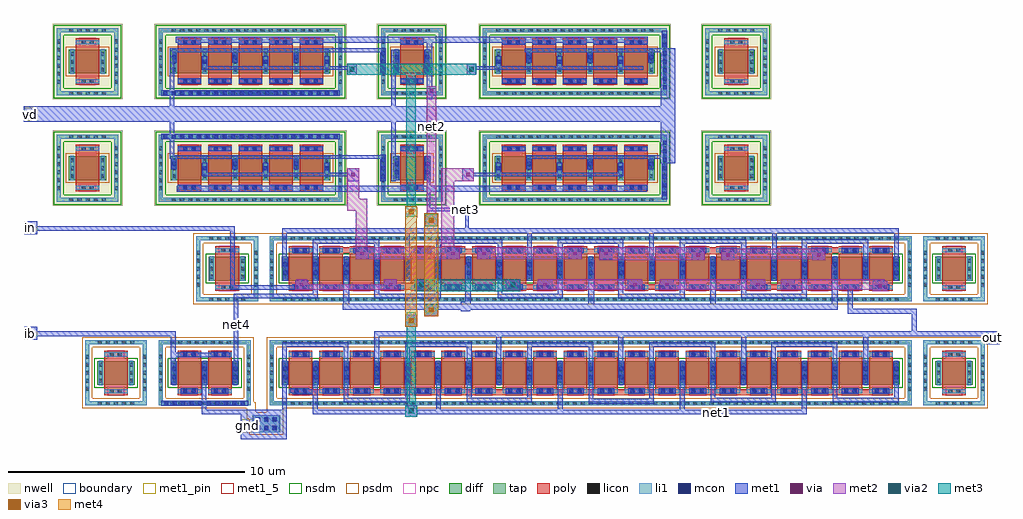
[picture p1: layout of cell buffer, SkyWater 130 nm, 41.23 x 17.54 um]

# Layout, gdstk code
from math import pi, radians
import gdstk
lib = gdstk.Library(unit=1e-6, precision=1e-09)
def R(c, l, rs):  # rectangles x0, y0, x1, y1
    for r in rs: c.add(gdstk.rectangle(r[:2], r[2:], *l))
def A(c, l, x, y, w, h, nx, ny, dx, dy):  # array of equal rectangles
    R(c, l, [(x+i*dx, y+j*dy, x+i*dx+w, y+j*dy+h) for i in range(nx) for j in range(ny)])
nwell = (64, 20)
diff = (65, 20)
tap = (65, 44)
poly = (66, 20)
licon = (66, 44)
li1 = (67, 20)
mcon = (67, 44)
met1_5 = (68, 5)
met1_pin = (68, 16)
met1 = (68, 20)
via = (68, 44)
met2 = (69, 20)
via2 = (69, 44)
met3 = (70, 20)
via3 = (70, 44)
met4 = (71, 20)
nsdm = (93, 44)
psdm = (94, 20)
npc = (95, 20)
boundary = (235, 4)

sky130_fd_pr__pfet_01v8_ = lib.new_cell('sky130_fd_pr__pfet_01v8_BLSBYX')
R(sky130_fd_pr__pfet_01v8_, nwell, [(-1.48,-1.595,1.48,1.595)])
R(sky130_fd_pr__pfet_01v8_, diff, [(-0.79,-0.5,0.79,0.5)])
R(sky130_fd_pr__pfet_01v8_, tap, [(-1.3,-1.415,1.3,-1.245), (-1.3,-1.245,-1.13,1.245), (1.13,-1.245,1.3,1.245), (-1.3,1.245,1.3,1.415)])
R(sky130_fd_pr__pfet_01v8_, poly, [(-0.5,-0.985,0.5,0.985)])
A(sky130_fd_pr__pfet_01v8_, licon, -0.765, -1.415, 0.17, 0.17, 5, 2, 0.34, 2.66)
A(sky130_fd_pr__pfet_01v8_, licon, -1.3, -0.935, 0.17, 0.17, 1, 6, 0, 0.34)
A(sky130_fd_pr__pfet_01v8_, licon, 1.13, -0.935, 0.17, 0.17, 1, 6, 0, 0.34)
A(sky130_fd_pr__pfet_01v8_, licon, -0.73, -0.425, 0.17, 0.17, 1, 3, 0, 0.34)
A(sky130_fd_pr__pfet_01v8_, licon, 0.56, -0.425, 0.17, 0.17, 1, 3, 0, 0.34)
R(sky130_fd_pr__pfet_01v8_, licon, [(-0.255,-0.905,-0.085,-0.735), (0.085,-0.905,0.255,-0.735), (-0.255,0.735,-0.085,0.905), (0.085,0.735,0.255,0.905)])
R(sky130_fd_pr__pfet_01v8_, li1, [(-1.3,-1.415,1.3,-1.245), (-1.3,-1.245,-1.13,1.245), (1.13,-1.245,1.3,1.245), (-0.5,-0.905,0.5,-0.735), (-0.73,-0.52,-0.56,0.52), (0.56,-0.52,0.73,0.52), (-0.5,0.735,0.5,0.905), (-1.3,1.245,1.3,1.415)])
A(sky130_fd_pr__pfet_01v8_, mcon, -1.3, -0.445, 0.17, 0.17, 1, 3, 0, 0.36)
R(sky130_fd_pr__pfet_01v8_, mcon, [(-0.265,-0.905,-0.095,-0.735), (0.095,-0.905,0.265,-0.735), (-0.73,-0.265,-0.56,-0.095), (0.56,-0.265,0.73,-0.095), (-0.73,0.095,-0.56,0.265), (0.56,0.095,0.73,0.265), (-0.265,0.735,-0.095,0.905), (0.095,0.735,0.265,0.905)])
R(sky130_fd_pr__pfet_01v8_, met1, [(-0.48,-0.935,0.48,-0.705), (-1.33,-0.56,-1.1,0.56), (-0.76,-0.5,-0.53,0.5), (0.53,-0.5,0.76,0.5), (-0.48,0.705,0.48,0.935)])
R(sky130_fd_pr__pfet_01v8_, nsdm, [(-1.425,-1.54,1.425,-1.12), (-1.425,-1.12,-1.005,1.12), (1.005,-1.12,1.425,1.12), (-1.425,1.12,1.425,1.54)])
R(sky130_fd_pr__pfet_01v8_, psdm, [(-0.915,-0.625,0.915,0.625)])
R(sky130_fd_pr__pfet_01v8_, npc, [(-0.355,-1.005,0.355,-0.635), (-0.355,0.635,0.355,1.005)])
R(sky130_fd_pr__pfet_01v8_, boundary, [(-1.215,-1.33,1.215,1.33)])

c_sky130_fd_pr__pfet_01v8_ = lib.new_cell('sky130_fd_pr__pfet_01v8_8LYGA7')
R(c_sky130_fd_pr__pfet_01v8_, nwell, [(-4.06,-1.595,4.06,1.595)])
R(c_sky130_fd_pr__pfet_01v8_, diff, [(-3.37,-0.5,3.37,0.5)])
R(c_sky130_fd_pr__pfet_01v8_, tap, [(-3.88,-1.415,3.88,-1.245), (-3.88,-1.245,-3.71,1.245), (3.71,-1.245,3.88,1.245), (-3.88,1.245,3.88,1.415)])
A(c_sky130_fd_pr__pfet_01v8_, poly, -3.08, -0.985, 1, 1.97, 5, 1, 1.29, 0)
A(c_sky130_fd_pr__pfet_01v8_, licon, -3.315, -1.415, 0.17, 0.17, 20, 2, 0.34, 2.66)
A(c_sky130_fd_pr__pfet_01v8_, licon, -3.88, -0.935, 0.17, 0.17, 1, 6, 0, 0.34)
A(c_sky130_fd_pr__pfet_01v8_, licon, 3.71, -0.935, 0.17, 0.17, 1, 6, 0, 0.34)
A(c_sky130_fd_pr__pfet_01v8_, licon, -3.31, -0.425, 0.17, 0.17, 6, 3, 1.29, 0.34)
R(c_sky130_fd_pr__pfet_01v8_, licon, [(-2.835,-0.905,-2.665,-0.735), (-2.495,-0.905,-2.325,-0.735), (-1.545,-0.905,-1.375,-0.735), (-1.205,-0.905,-1.035,-0.735), (-0.255,-0.905,-0.085,-0.735), (0.085,-0.905,0.255,-0.735), (1.035,-0.905,1.205,-0.735), (1.375,-0.905,1.545,-0.735), (2.325,-0.905,2.495,-0.735), (2.665,-0.905,2.835,-0.735), (-2.835,0.735,-2.665,0.905), (-2.495,0.735,-2.325,0.905), (-1.545,0.735,-1.375,0.905), (-1.205,0.735,-1.035,0.905), (-0.255,0.735,-0.085,0.905), (0.085,0.735,0.255,0.905), (1.035,0.735,1.205,0.905), (1.375,0.735,1.545,0.905), (2.325,0.735,2.495,0.905), (2.665,0.735,2.835,0.905)])
A(c_sky130_fd_pr__pfet_01v8_, li1, -3.08, -0.905, 1, 0.17, 5, 2, 1.29, 1.64)
A(c_sky130_fd_pr__pfet_01v8_, li1, -3.31, -0.52, 0.17, 1.04, 6, 1, 1.29, 0)
R(c_sky130_fd_pr__pfet_01v8_, li1, [(-3.88,-1.415,3.88,-1.245), (-3.88,-1.245,-3.71,1.245), (3.71,-1.245,3.88,1.245), (-3.88,1.245,3.88,1.415)])
A(c_sky130_fd_pr__pfet_01v8_, mcon, -3.88, -1.165, 0.17, 0.17, 1, 7, 0, 0.36)
A(c_sky130_fd_pr__pfet_01v8_, mcon, -2.02, -0.085, 0.17, 0.17, 3, 1, 2.58, 0)
A(c_sky130_fd_pr__pfet_01v8_, mcon, -3.31, 0.095, 0.17, 0.17, 3, 1, 2.58, 0)
R(c_sky130_fd_pr__pfet_01v8_, mcon, [(-2.845,-0.905,-2.675,-0.735), (-2.485,-0.905,-2.315,-0.735), (-1.555,-0.905,-1.385,-0.735), (-1.195,-0.905,-1.025,-0.735), (-0.265,-0.905,-0.095,-0.735), (0.095,-0.905,0.265,-0.735), (1.025,-0.905,1.195,-0.735), (1.385,-0.905,1.555,-0.735), (2.315,-0.905,2.485,-0.735), (2.675,-0.905,2.845,-0.735), (-2.845,0.735,-2.675,0.905), (-2.485,0.735,-2.315,0.905), (-1.555,0.735,-1.385,0.905), (-1.195,0.735,-1.025,0.905), (-0.265,0.735,-0.095,0.905), (0.095,0.735,0.265,0.905), (1.025,0.735,1.195,0.905), (1.385,0.735,1.555,0.905), (2.315,0.735,2.485,0.905), (2.675,0.735,2.845,0.905)])
A(c_sky130_fd_pr__pfet_01v8_, met1, -3.06, -0.935, 0.96, 0.23, 5, 2, 1.29, 1.64)
A(c_sky130_fd_pr__pfet_01v8_, met1, -2.05, -0.235, 0.23, 0.47, 3, 1, 2.58, 0)
A(c_sky130_fd_pr__pfet_01v8_, met1, -3.34, -0.055, 0.23, 0.47, 3, 1, 2.58, 0)
R(c_sky130_fd_pr__pfet_01v8_, met1, [(-3.91,-1.305,-3.68,1.305)])
R(c_sky130_fd_pr__pfet_01v8_, nsdm, [(-4.005,-1.54,4.005,-1.12), (-4.005,-1.12,-3.585,1.12), (3.585,-1.12,4.005,1.12), (-4.005,1.12,4.005,1.54)])
R(c_sky130_fd_pr__pfet_01v8_, psdm, [(-3.495,-0.625,3.495,0.625)])
A(c_sky130_fd_pr__pfet_01v8_, npc, -2.935, -1.005, 0.71, 0.37, 5, 2, 1.29, 1.64)
R(c_sky130_fd_pr__pfet_01v8_, boundary, [(-3.795,-1.33,3.795,1.33)])

c_sky130_fd_pr__pfet_01v8__ = lib.new_cell('sky130_fd_pr__pfet_01v8_8L4H97')
R(c_sky130_fd_pr__pfet_01v8__, nwell, [(-4.06,-1.595,4.06,1.595)])
R(c_sky130_fd_pr__pfet_01v8__, diff, [(-3.37,-0.5,3.37,0.5)])
R(c_sky130_fd_pr__pfet_01v8__, tap, [(-3.88,-1.415,3.88,-1.245), (-3.88,-1.245,-3.71,1.245), (3.71,-1.245,3.88,1.245), (-3.88,1.245,3.88,1.415)])
A(c_sky130_fd_pr__pfet_01v8__, poly, -3.08, -0.985, 1, 1.97, 5, 1, 1.29, 0)
A(c_sky130_fd_pr__pfet_01v8__, licon, -3.315, -1.415, 0.17, 0.17, 20, 2, 0.34, 2.66)
A(c_sky130_fd_pr__pfet_01v8__, licon, -3.88, -0.935, 0.17, 0.17, 1, 6, 0, 0.34)
A(c_sky130_fd_pr__pfet_01v8__, licon, 3.71, -0.935, 0.17, 0.17, 1, 6, 0, 0.34)
A(c_sky130_fd_pr__pfet_01v8__, licon, -3.31, -0.425, 0.17, 0.17, 6, 3, 1.29, 0.34)
R(c_sky130_fd_pr__pfet_01v8__, licon, [(-2.835,-0.905,-2.665,-0.735), (-2.495,-0.905,-2.325,-0.735), (-1.545,-0.905,-1.375,-0.735), (-1.205,-0.905,-1.035,-0.735), (-0.255,-0.905,-0.085,-0.735), (0.085,-0.905,0.255,-0.735), (1.035,-0.905,1.205,-0.735), (1.375,-0.905,1.545,-0.735), (2.325,-0.905,2.495,-0.735), (2.665,-0.905,2.835,-0.735), (-2.835,0.735,-2.665,0.905), (-2.495,0.735,-2.325,0.905), (-1.545,0.735,-1.375,0.905), (-1.205,0.735,-1.035,0.905), (-0.255,0.735,-0.085,0.905), (0.085,0.735,0.255,0.905), (1.035,0.735,1.205,0.905), (1.375,0.735,1.545,0.905), (2.325,0.735,2.495,0.905), (2.665,0.735,2.835,0.905)])
A(c_sky130_fd_pr__pfet_01v8__, li1, -3.08, -0.905, 1, 0.17, 5, 2, 1.29, 1.64)
A(c_sky130_fd_pr__pfet_01v8__, li1, -3.31, -0.52, 0.17, 1.04, 6, 1, 1.29, 0)
R(c_sky130_fd_pr__pfet_01v8__, li1, [(-3.88,-1.415,3.88,-1.245), (-3.88,-1.245,-3.71,1.245), (3.71,-1.245,3.88,1.245), (-3.88,1.245,3.88,1.415)])
A(c_sky130_fd_pr__pfet_01v8__, mcon, -3.685, -1.415, 0.17, 0.17, 21, 1, 0.36, 0)
A(c_sky130_fd_pr__pfet_01v8__, mcon, -2.02, -0.085, 0.17, 0.17, 3, 1, 2.58, 0)
A(c_sky130_fd_pr__pfet_01v8__, mcon, -3.31, 0.095, 0.17, 0.17, 3, 1, 2.58, 0)
R(c_sky130_fd_pr__pfet_01v8__, mcon, [(-2.845,-0.905,-2.675,-0.735), (-2.485,-0.905,-2.315,-0.735), (-1.555,-0.905,-1.385,-0.735), (-1.195,-0.905,-1.025,-0.735), (-0.265,-0.905,-0.095,-0.735), (0.095,-0.905,0.265,-0.735), (1.025,-0.905,1.195,-0.735), (1.385,-0.905,1.555,-0.735), (2.315,-0.905,2.485,-0.735), (2.675,-0.905,2.845,-0.735), (-2.845,0.735,-2.675,0.905), (-2.485,0.735,-2.315,0.905), (-1.555,0.735,-1.385,0.905), (-1.195,0.735,-1.025,0.905), (-0.265,0.735,-0.095,0.905), (0.095,0.735,0.265,0.905), (1.025,0.735,1.195,0.905), (1.385,0.735,1.555,0.905), (2.315,0.735,2.485,0.905), (2.675,0.735,2.845,0.905)])
A(c_sky130_fd_pr__pfet_01v8__, met1, -3.06, -0.935, 0.96, 0.23, 5, 2, 1.29, 1.64)
A(c_sky130_fd_pr__pfet_01v8__, met1, -2.05, -0.235, 0.23, 0.47, 3, 1, 2.58, 0)
A(c_sky130_fd_pr__pfet_01v8__, met1, -3.34, -0.055, 0.23, 0.47, 3, 1, 2.58, 0)
R(c_sky130_fd_pr__pfet_01v8__, met1, [(-3.77,-1.445,3.77,-1.215)])
R(c_sky130_fd_pr__pfet_01v8__, nsdm, [(-4.005,-1.54,4.005,-1.12), (-4.005,-1.12,-3.585,1.12), (3.585,-1.12,4.005,1.12), (-4.005,1.12,4.005,1.54)])
R(c_sky130_fd_pr__pfet_01v8__, psdm, [(-3.495,-0.625,3.495,0.625)])
A(c_sky130_fd_pr__pfet_01v8__, npc, -2.935, -1.005, 0.71, 0.37, 5, 2, 1.29, 1.64)
R(c_sky130_fd_pr__pfet_01v8__, boundary, [(-3.795,-1.33,3.795,1.33)])

c_sky130_fd_pr__pfet_01v8___ = lib.new_cell('sky130_fd_pr__pfet_01v8_8C4HA7')
R(c_sky130_fd_pr__pfet_01v8___, nwell, [(-4.06,-1.595,4.06,1.595)])
R(c_sky130_fd_pr__pfet_01v8___, diff, [(-3.37,-0.5,3.37,0.5)])
R(c_sky130_fd_pr__pfet_01v8___, tap, [(-3.88,-1.415,3.88,-1.245), (-3.88,-1.245,-3.71,1.245), (3.71,-1.245,3.88,1.245), (-3.88,1.245,3.88,1.415)])
A(c_sky130_fd_pr__pfet_01v8___, poly, -3.08, -0.985, 1, 1.97, 5, 1, 1.29, 0)
A(c_sky130_fd_pr__pfet_01v8___, licon, -3.315, -1.415, 0.17, 0.17, 20, 2, 0.34, 2.66)
A(c_sky130_fd_pr__pfet_01v8___, licon, -3.88, -0.935, 0.17, 0.17, 1, 6, 0, 0.34)
A(c_sky130_fd_pr__pfet_01v8___, licon, 3.71, -0.935, 0.17, 0.17, 1, 6, 0, 0.34)
A(c_sky130_fd_pr__pfet_01v8___, licon, -3.31, -0.425, 0.17, 0.17, 6, 3, 1.29, 0.34)
R(c_sky130_fd_pr__pfet_01v8___, licon, [(-2.835,-0.905,-2.665,-0.735), (-2.495,-0.905,-2.325,-0.735), (-1.545,-0.905,-1.375,-0.735), (-1.205,-0.905,-1.035,-0.735), (-0.255,-0.905,-0.085,-0.735), (0.085,-0.905,0.255,-0.735), (1.035,-0.905,1.205,-0.735), (1.375,-0.905,1.545,-0.735), (2.325,-0.905,2.495,-0.735), (2.665,-0.905,2.835,-0.735), (-2.835,0.735,-2.665,0.905), (-2.495,0.735,-2.325,0.905), (-1.545,0.735,-1.375,0.905), (-1.205,0.735,-1.035,0.905), (-0.255,0.735,-0.085,0.905), (0.085,0.735,0.255,0.905), (1.035,0.735,1.205,0.905), (1.375,0.735,1.545,0.905), (2.325,0.735,2.495,0.905), (2.665,0.735,2.835,0.905)])
A(c_sky130_fd_pr__pfet_01v8___, li1, -3.08, -0.905, 1, 0.17, 5, 2, 1.29, 1.64)
A(c_sky130_fd_pr__pfet_01v8___, li1, -3.31, -0.52, 0.17, 1.04, 6, 1, 1.29, 0)
R(c_sky130_fd_pr__pfet_01v8___, li1, [(-3.88,-1.415,3.88,-1.245), (-3.88,-1.245,-3.71,1.245), (3.71,-1.245,3.88,1.245), (-3.88,1.245,3.88,1.415)])
A(c_sky130_fd_pr__pfet_01v8___, mcon, -2.02, -0.085, 0.17, 0.17, 3, 1, 2.58, 0)
A(c_sky130_fd_pr__pfet_01v8___, mcon, -3.31, 0.095, 0.17, 0.17, 3, 1, 2.58, 0)
A(c_sky130_fd_pr__pfet_01v8___, mcon, -3.685, 1.245, 0.17, 0.17, 21, 1, 0.36, 0)
R(c_sky130_fd_pr__pfet_01v8___, mcon, [(-2.845,-0.905,-2.675,-0.735), (-2.485,-0.905,-2.315,-0.735), (-1.555,-0.905,-1.385,-0.735), (-1.195,-0.905,-1.025,-0.735), (-0.265,-0.905,-0.095,-0.735), (0.095,-0.905,0.265,-0.735), (1.025,-0.905,1.195,-0.735), (1.385,-0.905,1.555,-0.735), (2.315,-0.905,2.485,-0.735), (2.675,-0.905,2.845,-0.735), (-2.845,0.735,-2.675,0.905), (-2.485,0.735,-2.315,0.905), (-1.555,0.735,-1.385,0.905), (-1.195,0.735,-1.025,0.905), (-0.265,0.735,-0.095,0.905), (0.095,0.735,0.265,0.905), (1.025,0.735,1.195,0.905), (1.385,0.735,1.555,0.905), (2.315,0.735,2.485,0.905), (2.675,0.735,2.845,0.905)])
A(c_sky130_fd_pr__pfet_01v8___, met1, -3.06, -0.935, 0.96, 0.23, 5, 2, 1.29, 1.64)
A(c_sky130_fd_pr__pfet_01v8___, met1, -2.05, -0.235, 0.23, 0.47, 3, 1, 2.58, 0)
A(c_sky130_fd_pr__pfet_01v8___, met1, -3.34, -0.055, 0.23, 0.47, 3, 1, 2.58, 0)
R(c_sky130_fd_pr__pfet_01v8___, met1, [(-3.77,1.215,3.77,1.445)])
R(c_sky130_fd_pr__pfet_01v8___, nsdm, [(-4.005,-1.54,4.005,-1.12), (-4.005,-1.12,-3.585,1.12), (3.585,-1.12,4.005,1.12), (-4.005,1.12,4.005,1.54)])
R(c_sky130_fd_pr__pfet_01v8___, psdm, [(-3.495,-0.625,3.495,0.625)])
A(c_sky130_fd_pr__pfet_01v8___, npc, -2.935, -1.005, 0.71, 0.37, 5, 2, 1.29, 1.64)
R(c_sky130_fd_pr__pfet_01v8___, boundary, [(-3.795,-1.33,3.795,1.33)])

sky130_fd_pr__nfet_01v8_ = lib.new_cell('sky130_fd_pr__nfet_01v8_GVTB53')
R(sky130_fd_pr__nfet_01v8_, diff, [(-1.435,-0.5,1.435,0.5)])
R(sky130_fd_pr__nfet_01v8_, tap, [(-1.945,-1.37,1.945,-1.2), (-1.945,-1.2,-1.775,1.2), (1.775,-1.2,1.945,1.2), (-1.945,1.2,1.945,1.37)])
R(sky130_fd_pr__nfet_01v8_, poly, [(-1.145,-0.94,-0.145,0.94), (0.145,-0.94,1.145,0.94)])
A(sky130_fd_pr__nfet_01v8_, licon, -1.445, -1.37, 0.17, 0.17, 9, 2, 0.34, 2.57)
A(sky130_fd_pr__nfet_01v8_, licon, -1.945, -0.765, 0.17, 0.17, 1, 5, 0, 0.34)
A(sky130_fd_pr__nfet_01v8_, licon, 1.775, -0.765, 0.17, 0.17, 1, 5, 0, 0.34)
A(sky130_fd_pr__nfet_01v8_, licon, -1.375, -0.425, 0.17, 0.17, 3, 3, 1.29, 0.34)
R(sky130_fd_pr__nfet_01v8_, licon, [(-0.9,-0.86,-0.73,-0.69), (-0.56,-0.86,-0.39,-0.69), (0.39,-0.86,0.56,-0.69), (0.73,-0.86,0.9,-0.69), (-0.9,0.69,-0.73,0.86), (-0.56,0.69,-0.39,0.86), (0.39,0.69,0.56,0.86), (0.73,0.69,0.9,0.86)])
A(sky130_fd_pr__nfet_01v8_, li1, -1.375, -0.52, 0.17, 1.04, 3, 1, 1.29, 0)
R(sky130_fd_pr__nfet_01v8_, li1, [(-1.945,-1.37,1.945,-1.2), (-1.945,-1.2,-1.775,1.2), (1.775,-1.2,1.945,1.2), (-1.145,-0.86,-0.145,-0.69), (0.145,-0.86,1.145,-0.69), (-1.145,0.69,-0.145,0.86), (0.145,0.69,1.145,0.86), (-1.945,1.2,1.945,1.37)])
A(sky130_fd_pr__nfet_01v8_, mcon, -1.705, -1.37, 0.17, 0.17, 10, 1, 0.36, 0)
A(sky130_fd_pr__nfet_01v8_, mcon, -1.375, -0.265, 0.17, 0.17, 3, 2, 1.29, 0.36)
R(sky130_fd_pr__nfet_01v8_, mcon, [(-0.91,-0.86,-0.74,-0.69), (-0.55,-0.86,-0.38,-0.69), (0.38,-0.86,0.55,-0.69), (0.74,-0.86,0.91,-0.69), (-0.91,0.69,-0.74,0.86), (-0.55,0.69,-0.38,0.86), (0.38,0.69,0.55,0.86), (0.74,0.69,0.91,0.86)])
A(sky130_fd_pr__nfet_01v8_, met1, -1.405, -0.5, 0.23, 1, 3, 1, 1.29, 0)
R(sky130_fd_pr__nfet_01v8_, met1, [(-1.835,-1.4,1.835,-1.17), (-1,-0.89,-0.29,-0.66), (0.29,-0.89,1,-0.66), (-1,0.66,-0.29,0.89), (0.29,0.66,1,0.89)])
R(sky130_fd_pr__nfet_01v8_, nsdm, [(-1.56,-0.625,1.56,0.625)])
R(sky130_fd_pr__nfet_01v8_, psdm, [(-2.07,-1.495,2.07,-1.075), (-2.07,-1.075,-1.65,1.075), (1.65,-1.075,2.07,1.075), (-2.07,1.075,2.07,1.495)])
R(sky130_fd_pr__nfet_01v8_, npc, [(-1,-0.96,-0.29,-0.59), (0.29,-0.96,1,-0.59), (-1,0.59,-0.29,0.96), (0.29,0.59,1,0.96)])
R(sky130_fd_pr__nfet_01v8_, boundary, [(-1.86,-1.285,1.86,1.285)])

c_sky130_fd_pr__nfet_01v8_ = lib.new_cell('sky130_fd_pr__nfet_01v8_CL66SD')
R(c_sky130_fd_pr__nfet_01v8_, diff, [(-13.045,-0.5,13.045,0.5)])
R(c_sky130_fd_pr__nfet_01v8_, tap, [(-13.555,-1.37,13.555,-1.2), (-13.555,-1.2,-13.385,1.2), (13.385,-1.2,13.555,1.2), (-13.555,1.2,13.555,1.37)])
A(c_sky130_fd_pr__nfet_01v8_, poly, -12.755, -0.94, 1, 1.88, 20, 1, 1.29, 0)
A(c_sky130_fd_pr__nfet_01v8_, licon, -13.005, -1.37, 0.17, 0.17, 77, 2, 0.34, 2.57)
A(c_sky130_fd_pr__nfet_01v8_, licon, -13.555, -0.765, 0.17, 0.17, 1, 5, 0, 0.34)
A(c_sky130_fd_pr__nfet_01v8_, licon, 13.385, -0.765, 0.17, 0.17, 1, 5, 0, 0.34)
A(c_sky130_fd_pr__nfet_01v8_, licon, -12.985, -0.425, 0.17, 0.17, 21, 3, 1.29, 0.34)
R(c_sky130_fd_pr__nfet_01v8_, licon, [(-12.51,-0.86,-12.34,-0.69), (-12.17,-0.86,-12,-0.69), (-11.22,-0.86,-11.05,-0.69), (-10.88,-0.86,-10.71,-0.69), (-9.93,-0.86,-9.76,-0.69), (-9.59,-0.86,-9.42,-0.69), (-8.64,-0.86,-8.47,-0.69), (-8.3,-0.86,-8.13,-0.69), (-7.35,-0.86,-7.18,-0.69), (-7.01,-0.86,-6.84,-0.69), (-6.06,-0.86,-5.89,-0.69), (-5.72,-0.86,-5.55,-0.69), (-4.77,-0.86,-4.6,-0.69), (-4.43,-0.86,-4.26,-0.69), (-3.48,-0.86,-3.31,-0.69), (-3.14,-0.86,-2.97,-0.69), (-2.19,-0.86,-2.02,-0.69), (-1.85,-0.86,-1.68,-0.69), (-0.9,-0.86,-0.73,-0.69), (-0.56,-0.86,-0.39,-0.69), (0.39,-0.86,0.56,-0.69), (0.73,-0.86,0.9,-0.69), (1.68,-0.86,1.85,-0.69), (2.02,-0.86,2.19,-0.69), (2.97,-0.86,3.14,-0.69), (3.31,-0.86,3.48,-0.69), (4.26,-0.86,4.43,-0.69), (4.6,-0.86,4.77,-0.69), (5.55,-0.86,5.72,-0.69), (5.89,-0.86,6.06,-0.69), (6.84,-0.86,7.01,-0.69), (7.18,-0.86,7.35,-0.69), (8.13,-0.86,8.3,-0.69), (8.47,-0.86,8.64,-0.69), (9.42,-0.86,9.59,-0.69), (9.76,-0.86,9.93,-0.69), (10.71,-0.86,10.88,-0.69), (11.05,-0.86,11.22,-0.69), (12,-0.86,12.17,-0.69), (12.34,-0.86,12.51,-0.69), (-12.51,0.69,-12.34,0.86), (-12.17,0.69,-12,0.86), (-11.22,0.69,-11.05,0.86), (-10.88,0.69,-10.71,0.86), (-9.93,0.69,-9.76,0.86), (-9.59,0.69,-9.42,0.86), (-8.64,0.69,-8.47,0.86), (-8.3,0.69,-8.13,0.86), (-7.35,0.69,-7.18,0.86), (-7.01,0.69,-6.84,0.86), (-6.06,0.69,-5.89,0.86), (-5.72,0.69,-5.55,0.86), (-4.77,0.69,-4.6,0.86), (-4.43,0.69,-4.26,0.86), (-3.48,0.69,-3.31,0.86), (-3.14,0.69,-2.97,0.86), (-2.19,0.69,-2.02,0.86), (-1.85,0.69,-1.68,0.86), (-0.9,0.69,-0.73,0.86), (-0.56,0.69,-0.39,0.86), (0.39,0.69,0.56,0.86), (0.73,0.69,0.9,0.86), (1.68,0.69,1.85,0.86), (2.02,0.69,2.19,0.86), (2.97,0.69,3.14,0.86), (3.31,0.69,3.48,0.86), (4.26,0.69,4.43,0.86), (4.6,0.69,4.77,0.86), (5.55,0.69,5.72,0.86), (5.89,0.69,6.06,0.86), (6.84,0.69,7.01,0.86), (7.18,0.69,7.35,0.86), (8.13,0.69,8.3,0.86), (8.47,0.69,8.64,0.86), (9.42,0.69,9.59,0.86), (9.76,0.69,9.93,0.86), (10.71,0.69,10.88,0.86), (11.05,0.69,11.22,0.86), (12,0.69,12.17,0.86), (12.34,0.69,12.51,0.86)])
A(c_sky130_fd_pr__nfet_01v8_, li1, -12.755, -0.86, 1, 0.17, 20, 2, 1.29, 1.55)
A(c_sky130_fd_pr__nfet_01v8_, li1, -12.985, -0.52, 0.17, 1.04, 21, 1, 1.29, 0)
R(c_sky130_fd_pr__nfet_01v8_, li1, [(-13.555,-1.37,13.555,-1.2), (-13.555,-1.2,-13.385,1.2), (13.385,-1.2,13.555,1.2), (-13.555,1.2,13.555,1.37)])
A(c_sky130_fd_pr__nfet_01v8_, mcon, -12.985, -0.265, 0.17, 0.17, 21, 2, 1.29, 0.36)
R(c_sky130_fd_pr__nfet_01v8_, mcon, [(-12.52,-0.86,-12.35,-0.69), (-12.16,-0.86,-11.99,-0.69), (-11.23,-0.86,-11.06,-0.69), (-10.87,-0.86,-10.7,-0.69), (-9.94,-0.86,-9.77,-0.69), (-9.58,-0.86,-9.41,-0.69), (-8.65,-0.86,-8.48,-0.69), (-8.29,-0.86,-8.12,-0.69), (-7.36,-0.86,-7.19,-0.69), (-7,-0.86,-6.83,-0.69), (-6.07,-0.86,-5.9,-0.69), (-5.71,-0.86,-5.54,-0.69), (-4.78,-0.86,-4.61,-0.69), (-4.42,-0.86,-4.25,-0.69), (-3.49,-0.86,-3.32,-0.69), (-3.13,-0.86,-2.96,-0.69), (-2.2,-0.86,-2.03,-0.69), (-1.84,-0.86,-1.67,-0.69), (-0.91,-0.86,-0.74,-0.69), (-0.55,-0.86,-0.38,-0.69), (0.38,-0.86,0.55,-0.69), (0.74,-0.86,0.91,-0.69), (1.67,-0.86,1.84,-0.69), (2.03,-0.86,2.2,-0.69), (2.96,-0.86,3.13,-0.69), (3.32,-0.86,3.49,-0.69), (4.25,-0.86,4.42,-0.69), (4.61,-0.86,4.78,-0.69), (5.54,-0.86,5.71,-0.69), (5.9,-0.86,6.07,-0.69), (6.83,-0.86,7,-0.69), (7.19,-0.86,7.36,-0.69), (8.12,-0.86,8.29,-0.69), (8.48,-0.86,8.65,-0.69), (9.41,-0.86,9.58,-0.69), (9.77,-0.86,9.94,-0.69), (10.7,-0.86,10.87,-0.69), (11.06,-0.86,11.23,-0.69), (11.99,-0.86,12.16,-0.69), (12.35,-0.86,12.52,-0.69), (-12.52,0.69,-12.35,0.86), (-12.16,0.69,-11.99,0.86), (-11.23,0.69,-11.06,0.86), (-10.87,0.69,-10.7,0.86), (-9.94,0.69,-9.77,0.86), (-9.58,0.69,-9.41,0.86), (-8.65,0.69,-8.48,0.86), (-8.29,0.69,-8.12,0.86), (-7.36,0.69,-7.19,0.86), (-7,0.69,-6.83,0.86), (-6.07,0.69,-5.9,0.86), (-5.71,0.69,-5.54,0.86), (-4.78,0.69,-4.61,0.86), (-4.42,0.69,-4.25,0.86), (-3.49,0.69,-3.32,0.86), (-3.13,0.69,-2.96,0.86), (-2.2,0.69,-2.03,0.86), (-1.84,0.69,-1.67,0.86), (-0.91,0.69,-0.74,0.86), (-0.55,0.69,-0.38,0.86), (0.38,0.69,0.55,0.86), (0.74,0.69,0.91,0.86), (1.67,0.69,1.84,0.86), (2.03,0.69,2.2,0.86), (2.96,0.69,3.13,0.86), (3.32,0.69,3.49,0.86), (4.25,0.69,4.42,0.86), (4.61,0.69,4.78,0.86), (5.54,0.69,5.71,0.86), (5.9,0.69,6.07,0.86), (6.83,0.69,7,0.86), (7.19,0.69,7.36,0.86), (8.12,0.69,8.29,0.86), (8.48,0.69,8.65,0.86), (9.41,0.69,9.58,0.86), (9.77,0.69,9.94,0.86), (10.7,0.69,10.87,0.86), (11.06,0.69,11.23,0.86), (11.99,0.69,12.16,0.86), (12.35,0.69,12.52,0.86)])
A(c_sky130_fd_pr__nfet_01v8_, met1, -12.61, -0.89, 0.71, 0.23, 20, 2, 1.29, 1.55)
A(c_sky130_fd_pr__nfet_01v8_, met1, -13.015, -0.5, 0.23, 1, 21, 1, 1.29, 0)
R(c_sky130_fd_pr__nfet_01v8_, nsdm, [(-13.17,-0.625,13.17,0.625)])
R(c_sky130_fd_pr__nfet_01v8_, psdm, [(-13.68,-1.495,13.68,-1.075), (-13.68,-1.075,-13.26,1.075), (13.26,-1.075,13.68,1.075), (-13.68,1.075,13.68,1.495)])
A(c_sky130_fd_pr__nfet_01v8_, npc, -12.61, -0.96, 0.71, 0.37, 20, 2, 1.29, 1.55)
R(c_sky130_fd_pr__nfet_01v8_, boundary, [(-13.47,-1.285,13.47,1.285)])

buffer = lib.new_cell('buffer')
R(buffer, nwell, [(70.6,17,73.56,20.19), (98,17,100.96,20.19), (70.6,21.5,73.56,24.69), (98,21.5,100.96,24.69)])
R(buffer, diff, [(72.49,9.45,74.07,10.45), (107.89,9.45,109.47,10.45), (77.19,13.85,78.77,14.85), (107.89,13.85,109.47,14.85), (71.29,18.095,72.87,19.095), (98.69,18.095,100.27,19.095), (71.29,22.595,72.87,23.595), (98.69,22.595,100.27,23.595)])
R(buffer, tap, [(79.03,7.45,80.22,8.15), (71.98,8.58,74.58,8.75), (107.38,8.58,109.98,8.75), (71.98,8.75,72.15,11.15), (74.41,8.75,74.58,11.15), (107.38,8.75,107.55,11.15), (109.81,8.75,109.98,11.15), (71.98,11.15,74.58,11.32), (107.38,11.15,109.98,11.32), (76.68,12.98,79.28,13.15), (107.38,12.98,109.98,13.15), (76.68,13.15,76.85,15.55), (79.11,13.15,79.28,15.55), (107.38,13.15,107.55,15.55), (109.81,13.15,109.98,15.55), (76.68,15.55,79.28,15.72), (107.38,15.55,109.98,15.72), (70.78,17.18,73.38,17.35), (98.18,17.18,100.78,17.35), (70.78,17.35,70.95,19.84), (73.21,17.35,73.38,19.84), (98.18,17.35,98.35,19.84), (100.61,17.35,100.78,19.84), (70.78,19.84,73.38,20.01), (98.18,19.84,100.78,20.01), (70.78,21.68,73.38,21.85), (98.18,21.68,100.78,21.85), (70.78,21.85,70.95,24.34), (73.21,21.85,73.38,24.34), (98.18,21.85,98.35,24.34), (100.61,21.85,100.78,24.34), (70.78,24.34,73.38,24.51), (98.18,24.34,100.78,24.51)])
R(buffer, poly, [(80.6,9,106.05,9.25), (72.78,9.01,73.78,10.89), (108.18,9.01,109.18,10.89), (77.48,13.41,78.48,15.29), (108.18,13.41,109.18,15.29), (84.65,13.45,86.65,13.75), (89.95,13.45,91.55,13.7), (94.95,13.45,96.95,13.7), (100.15,13.45,102.15,13.7), (87.6,14.95,88.65,15.2), (92.85,14.95,93.7,15.2), (98,14.95,99.05,15.25), (82.1,15,83.65,15.25), (103.15,15,104.5,15.25), (71.58,17.61,72.58,19.58), (98.98,17.61,99.98,19.58), (71.58,22.11,72.58,24.08), (98.98,22.11,99.98,24.08)])
A(buffer, licon, 79.2, 7.545, 0.17, 0.17, 3, 2, 0.34, 0.34)
A(buffer, licon, 72.515, 8.58, 0.17, 0.17, 5, 2, 0.34, 2.57)
A(buffer, licon, 107.915, 8.58, 0.17, 0.17, 5, 2, 0.34, 2.57)
A(buffer, licon, 71.98, 9.185, 0.17, 0.17, 1, 5, 0, 0.34)
A(buffer, licon, 74.41, 9.185, 0.17, 0.17, 1, 5, 0, 0.34)
A(buffer, licon, 107.38, 9.185, 0.17, 0.17, 1, 5, 0, 0.34)
A(buffer, licon, 109.81, 9.185, 0.17, 0.17, 1, 5, 0, 0.34)
A(buffer, licon, 72.55, 9.525, 0.17, 0.17, 1, 3, 0, 0.34)
A(buffer, licon, 73.84, 9.525, 0.17, 0.17, 1, 3, 0, 0.34)
A(buffer, licon, 107.95, 9.525, 0.17, 0.17, 1, 3, 0, 0.34)
A(buffer, licon, 109.24, 9.525, 0.17, 0.17, 1, 3, 0, 0.34)
A(buffer, licon, 77.215, 12.98, 0.17, 0.17, 5, 2, 0.34, 2.57)
A(buffer, licon, 107.915, 12.98, 0.17, 0.17, 5, 2, 0.34, 2.57)
A(buffer, licon, 76.68, 13.585, 0.17, 0.17, 1, 5, 0, 0.34)
A(buffer, licon, 79.11, 13.585, 0.17, 0.17, 1, 5, 0, 0.34)
A(buffer, licon, 107.38, 13.585, 0.17, 0.17, 1, 5, 0, 0.34)
A(buffer, licon, 109.81, 13.585, 0.17, 0.17, 1, 5, 0, 0.34)
A(buffer, licon, 77.25, 13.925, 0.17, 0.17, 1, 3, 0, 0.34)
A(buffer, licon, 78.54, 13.925, 0.17, 0.17, 1, 3, 0, 0.34)
A(buffer, licon, 107.95, 13.925, 0.17, 0.17, 1, 3, 0, 0.34)
A(buffer, licon, 109.24, 13.925, 0.17, 0.17, 1, 3, 0, 0.34)
A(buffer, licon, 71.315, 17.18, 0.17, 0.17, 5, 2, 0.34, 2.66)
A(buffer, licon, 98.715, 17.18, 0.17, 0.17, 5, 2, 0.34, 2.66)
A(buffer, licon, 70.78, 17.66, 0.17, 0.17, 1, 6, 0, 0.34)
A(buffer, licon, 73.21, 17.66, 0.17, 0.17, 1, 6, 0, 0.34)
A(buffer, licon, 98.18, 17.66, 0.17, 0.17, 1, 6, 0, 0.34)
A(buffer, licon, 100.61, 17.66, 0.17, 0.17, 1, 6, 0, 0.34)
A(buffer, licon, 71.35, 18.17, 0.17, 0.17, 1, 3, 0, 0.34)
A(buffer, licon, 72.64, 18.17, 0.17, 0.17, 1, 3, 0, 0.34)
A(buffer, licon, 98.75, 18.17, 0.17, 0.17, 1, 3, 0, 0.34)
A(buffer, licon, 100.04, 18.17, 0.17, 0.17, 1, 3, 0, 0.34)
A(buffer, licon, 71.315, 21.68, 0.17, 0.17, 5, 2, 0.34, 2.66)
A(buffer, licon, 98.715, 21.68, 0.17, 0.17, 5, 2, 0.34, 2.66)
A(buffer, licon, 70.78, 22.16, 0.17, 0.17, 1, 6, 0, 0.34)
A(buffer, licon, 73.21, 22.16, 0.17, 0.17, 1, 6, 0, 0.34)
A(buffer, licon, 98.18, 22.16, 0.17, 0.17, 1, 6, 0, 0.34)
A(buffer, licon, 100.61, 22.16, 0.17, 0.17, 1, 6, 0, 0.34)
A(buffer, licon, 71.35, 22.67, 0.17, 0.17, 1, 3, 0, 0.34)
A(buffer, licon, 72.64, 22.67, 0.17, 0.17, 1, 3, 0, 0.34)
A(buffer, licon, 98.75, 22.67, 0.17, 0.17, 1, 3, 0, 0.34)
A(buffer, licon, 100.04, 22.67, 0.17, 0.17, 1, 3, 0, 0.34)
R(buffer, licon, [(73.025,9.09,73.195,9.26), (73.365,9.09,73.535,9.26), (108.425,9.09,108.595,9.26), (108.765,9.09,108.935,9.26), (73.025,10.64,73.195,10.81), (73.365,10.64,73.535,10.81), (108.425,10.64,108.595,10.81), (108.765,10.64,108.935,10.81), (77.725,13.49,77.895,13.66), (78.065,13.49,78.235,13.66), (108.425,13.49,108.595,13.66), (108.765,13.49,108.935,13.66), (77.725,15.04,77.895,15.21), (78.065,15.04,78.235,15.21), (108.425,15.04,108.595,15.21), (108.765,15.04,108.935,15.21), (71.825,17.69,71.995,17.86), (72.165,17.69,72.335,17.86), (99.225,17.69,99.395,17.86), (99.565,17.69,99.735,17.86), (71.825,19.33,71.995,19.5), (72.165,19.33,72.335,19.5), (99.225,19.33,99.395,19.5), (99.565,19.33,99.735,19.5), (71.825,22.19,71.995,22.36), (72.165,22.19,72.335,22.36), (99.225,22.19,99.395,22.36), (99.565,22.19,99.735,22.36), (71.825,23.83,71.995,24), (72.165,23.83,72.335,24), (99.225,23.83,99.395,24), (99.565,23.83,99.735,24)])
R(buffer, li1, [(79.07,7.45,80.18,8.15), (71.98,8.58,74.58,8.75), (107.38,8.58,109.98,8.75), (71.98,8.75,72.15,11.15), (74.41,8.75,74.58,11.15), (107.38,8.75,107.55,11.15), (109.81,8.75,109.98,11.15), (72.78,9.09,73.78,9.26), (108.18,9.09,109.18,9.26), (72.55,9.43,72.72,10.47), (73.84,9.43,74.01,10.47), (107.95,9.43,108.12,10.47), (109.24,9.43,109.41,10.47), (72.78,10.64,73.78,10.81), (108.18,10.64,109.18,10.81), (71.98,11.15,74.58,11.32), (107.38,11.15,109.98,11.32), (76.68,12.98,79.28,13.15), (107.38,12.98,109.98,13.15), (76.68,13.15,76.85,15.55), (79.11,13.15,79.28,15.55), (107.38,13.15,107.55,15.55), (109.81,13.15,109.98,15.55), (77.48,13.49,78.48,13.66), (108.18,13.49,109.18,13.66), (77.25,13.83,77.42,14.87), (78.54,13.83,78.71,14.87), (107.95,13.83,108.12,14.87), (109.24,13.83,109.41,14.87), (77.48,15.04,78.48,15.21), (108.18,15.04,109.18,15.21), (76.68,15.55,79.28,15.72), (107.38,15.55,109.98,15.72), (70.78,17.18,73.38,17.35), (98.18,17.18,100.78,17.35), (70.78,17.35,70.95,19.84), (73.21,17.35,73.38,19.84), (98.18,17.35,98.35,19.84), (100.61,17.35,100.78,19.84), (71.58,17.69,72.58,17.86), (98.98,17.69,99.98,17.86), (71.35,18.075,71.52,19.115), (72.64,18.075,72.81,19.115), (98.75,18.075,98.92,19.115), (100.04,18.075,100.21,19.115), (71.58,19.33,72.58,19.5), (98.98,19.33,99.98,19.5), (70.78,19.84,73.38,20.01), (98.18,19.84,100.78,20.01), (70.78,21.68,73.38,21.85), (98.18,21.68,100.78,21.85), (70.78,21.85,70.95,24.34), (73.21,21.85,73.38,24.34), (98.18,21.85,98.35,24.34), (100.61,21.85,100.78,24.34), (71.58,22.19,72.58,22.36), (98.98,22.19,99.98,22.36), (71.35,22.575,71.52,23.615), (72.64,22.575,72.81,23.615), (98.75,22.575,98.92,23.615), (100.04,22.575,100.21,23.615), (71.58,23.83,72.58,24), (98.98,23.83,99.98,24), (70.78,24.34,73.38,24.51), (98.18,24.34,100.78,24.51)])
A(buffer, mcon, 79.18, 7.535, 0.17, 0.17, 3, 2, 0.36, 0.36)
R(buffer, met1_5, [(98.55,8.25,98.75,8.3), (78.35,11.95,78.4,12.05), (88,16.8,88.1,16.9)])
R(buffer, met1_pin, [(78.55,7.45,79.1,8), (110.05,11.15,110.6,11.7), (69.4,11.35,69.95,11.9), (69.4,15.8,69.95,16.35), (69.4,20.6,69.95,21.15)])
A(buffer, met1, 82.9, 8.9, 0.2, 2.15, 3, 1, 2.6, 0)
A(buffer, met1, 85.5, 11.05, 2.8, 0.2, 4, 1, 5.15, 0)
A(buffer, met1, 81.6, 13.3, 0.2, 2.1, 4, 1, 2.6, 0)
A(buffer, met1, 94.5, 13.3, 0.2, 2.1, 3, 1, 2.6, 0)
A(buffer, met1, 85.5, 14.45, 0.2, 1.4, 3, 1, 5.15, 0)
R(buffer, met1, [(78.55,7.15,80.5,8.2), (85.5,8.1,86,8.2), (76.9,8.2,80.5,8.4), (81.6,8.2,102.45,8.4), (76.9,8.4,77.1,10.2), (80.3,8.4,80.5,11.05), (81.6,8.4,81.8,9.05), (85.5,8.4,86,8.55), (86.8,8.4,87,9.8), (91.95,8.4,92.15,9.85), (97.1,8.4,97.3,9.8), (102.25,8.4,102.45,9.8), (93.25,8.65,96,8.85), (82.9,8.7,85.7,8.9), (88.1,8.7,90.85,8.9), (98.4,8.7,101.15,8.9), (103.55,8.7,106.35,8.9), (93.25,8.85,93.45,11.05), (95.8,8.85,96,11.05), (90.65,8.9,90.85,11.05), (98.4,8.9,98.6,11.05), (100.95,8.9,101.15,11.05), (103.55,8.9,103.75,11.05), (106.15,8.9,106.35,10), (80.75,9.05,81.8,9.1), (80.65,9.1,81.8,9.25), (80.65,9.25,80.9,9.3), (81.6,9.25,81.8,10.4), (78.25,9.5,78.45,13.1), (75.6,9.6,75.8,10.6), (84.2,9.75,84.4,11.5), (94.5,9.75,94.7,11.5), (104.85,9.75,105.05,11.5), (99.7,9.8,99.9,11.5), (89.35,9.85,89.55,11.5), (75.6,10.6,78.1,10.8), (75.6,10.8,75.8,11.5), (80.3,11.05,83.1,11.25), (110.05,11.15,110.6,11.5), (69.4,11.35,69.95,11.5), (69.4,11.5,75.8,11.7), (84.2,11.5,110.6,11.7), (69.4,11.7,69.95,11.9), (106.9,11.7,107.1,12.45), (85.5,11.9,86,12.4), (86.3,12.35,86.9,12.625), (104.2,12.45,107.1,12.65), (87.85,12.55,88.25,12.625), (82.85,12.625,103.775,12.875), (104.2,12.65,104.4,13.65), (82.875,12.875,83.125,14.525), (87.85,12.875,88.275,12.95), (93.225,12.875,93.475,14.725), (98.375,12.875,98.625,14.525), (103.525,12.875,103.775,14.525), (88.025,12.95,88.275,14.525), (78.25,13.1,81.8,13.3), (84.2,13.1,87,13.3), (89.4,13.1,92.15,13.3), (94.5,13.1,97.3,13.3), (99.7,13.1,102.45,13.3), (91.95,13.3,92.15,15.4), (102.25,13.3,102.45,15.4), (105.25,13.4,105.85,13.85), (78.1,13.45,81.4,13.65), (84.6,13.45,85.15,13.9), (85.9,13.45,86.5,13.9), (89.75,13.45,90.35,13.9), (91.1,13.45,91.7,13.9), (94.9,13.45,95.5,13.9), (96.25,13.45,96.85,13.9), (100.1,13.45,100.7,13.9), (101.35,13.45,101.95,13.9), (78.1,13.65,78.3,15.95), (80.85,13.65,81.4,13.85), (80.3,14.4,80.5,15.85), (104.85,14.4,105.05,15.4), (101,14.45,101.2,15.85), (106.15,14.5,106.35,15.85), (97.6,14.7,98.15,15.2), (98.85,14.7,99.4,15.2), (102.7,14.7,103.25,15.2), (83.4,14.75,83.95,15.25), (87.25,14.75,87.8,15.25), (88.55,14.75,89.1,15.25), (92.4,14.75,92.95,15.25), (93.7,14.75,94.25,15.25), (81.6,15.4,84.4,15.6), (86.8,15.4,89.6,15.6), (91.95,15.4,94.7,15.6), (97.1,15.4,99.9,15.6), (102.25,15.4,105.05,15.6), (69.4,15.8,69.95,15.95), (80.3,15.85,106.35,16.05), (69.4,15.95,78.3,16.15), (88.025,16.05,88.175,16.775), (69.4,16.15,69.95,16.35), (86.4,16.775,88.175,16.925), (86.4,16.925,86.55,17.6), (75.85,17.6,95.7,17.85), (86.4,17.85,86.55,19.1), (83.05,18.05,83.55,18.25), (84.9,18.05,85.1,20.55), (87.9,18.05,88.4,18.25), (76.9,18.25,83.55,18.4), (87.9,18.25,94.7,18.4), (83.05,18.4,83.55,18.6), (87.9,18.4,88.4,18.6), (96.3,18.8,96.9,19), (75.55,19,84.675,19.15), (90.6,19,96.9,19.15), (75.55,19.15,75.75,20.55), (96.3,19.15,96.9,20.55), (69.375,20.55,96.9,21.2), (75.55,21.2,75.75,23.5), (84.9,21.2,85.1,23.6), (96.3,21.2,96.9,23.5), (86.4,21.5,86.65,21.65), (86.4,21.65,86.8,22.05), (86.4,22.05,86.65,23.9), (83.05,22.55,83.45,22.75), (88.1,22.55,88.5,22.75), (76.9,22.75,83.45,22.9), (88.1,22.75,95.55,22.9), (83.05,22.9,83.45,23), (88.1,22.9,88.5,23), (75.55,23.5,84.675,23.65), (90.55,23.5,96.9,23.65), (75.8,23.9,95.75,24.15)])
R(buffer, via, [(85.675,8.275,85.825,8.425), (85.675,12.075,85.825,12.225), (86.525,12.525,86.675,12.675), (105.475,13.55,105.625,13.7), (81.05,13.6,81.2,13.75), (84.8,13.6,84.95,13.75), (86.125,13.6,86.275,13.75), (89.975,13.6,90.125,13.75), (91.325,13.6,91.475,13.75), (95.125,13.6,95.275,13.75), (96.475,13.6,96.625,13.75), (100.325,13.6,100.475,13.75), (101.575,13.6,101.725,13.75), (97.8,14.875,97.95,15.025), (99.05,14.875,99.2,15.025), (102.9,14.875,103.05,15.025), (83.6,14.925,83.75,15.075), (87.45,14.925,87.6,15.075), (88.75,14.925,88.9,15.075), (92.6,14.925,92.75,15.075), (93.9,14.925,94.05,15.075), (83.225,18.25,83.375,18.4), (88.075,18.25,88.225,18.4), (86.525,21.775,86.675,21.925), (83.175,22.7,83.325,22.85), (88.225,22.7,88.375,22.85)])
R(buffer, met2, [(85.5,8.1,86,8.55), (85.565,8.55,85.94,8.59), (85.5,11.9,86,12.4), (86.3,12.35,86.9,12.85), (105.25,13.4,105.85,13.45), (80.85,13.45,85.2,13.7), (85.9,13.45,86.5,13.9), (89.75,13.45,90.35,13.9), (91.1,13.45,95.5,13.9), (96.25,13.45,100.7,13.9), (101.35,13.45,105.85,13.85), (80.85,13.7,81.4,13.8), (84.6,13.7,85.15,13.9), (80.9,13.8,81.35,13.9), (101.35,13.85,105.75,13.9), (93.7,14.7,98.15,15.25), (98.85,14.7,99.4,14.75), (102.7,14.7,103.25,14.75), (83.4,14.75,87.8,15.25), (88.55,14.75,92.95,15.25), (98.85,14.75,103.25,15.2), (83.4,15.25,83.9,16.8), (87.025,15.25,87.575,18.05), (86.35,16.15,86.85,16.65), (86.4,16.65,86.8,22.05), (83.05,16.8,83.9,17.3), (83.05,17.3,83.55,18.6), (87.025,18.05,88.4,18.6), (83.05,22.55,83.45,23), (88.1,22.55,88.5,23)])
R(buffer, via2, [(85.65,8.25,85.85,8.45), (85.65,12.05,85.85,12.25), (86.5,12.5,86.7,12.7), (86.1,13.575,86.3,13.775), (89.95,13.575,90.15,13.775), (86.5,16.3,86.7,16.5), (83.15,22.675,83.35,22.875), (88.2,22.675,88.4,22.875)])
R(buffer, met3, [(85.5,8.1,86,8.55), (85.515,8.55,85.99,8.565), (85.565,8.565,85.94,11.9), (85.5,11.9,86,12.4), (86.3,12.35,86.9,12.85), (85.565,12.4,85.94,12.5), (85.9,13.4,90.35,13.9), (86.3,16.15,86.9,16.65), (85.5,16.55,86,16.95), (85.565,16.95,85.94,18.05), (85.55,18.05,85.95,22.55), (83.05,22.55,88.5,23)])
R(buffer, via3, [(85.65,12.05,85.85,12.25), (86.5,12.5,86.7,12.7), (86.5,16.3,86.7,16.5), (85.65,16.65,85.85,16.85)])
R(buffer, met4, [(85.5,11.9,86,12.6), (86.3,12.35,86.9,16.7), (85.505,12.6,85.995,16.5), (85.5,16.5,86,16.95), (85.505,16.95,85.995,16.995)])
R(buffer, nsdm, [(72.365,9.325,74.195,10.575), (107.765,9.325,109.595,10.575), (77.065,13.725,78.895,14.975), (107.765,13.725,109.595,14.975), (70.655,17.055,73.505,17.475), (98.055,17.055,100.905,17.475), (70.655,17.475,71.075,19.715), (73.085,17.475,73.505,19.715), (98.055,17.475,98.475,19.715), (100.485,17.475,100.905,19.715), (70.655,19.715,73.505,20.135), (98.055,19.715,100.905,20.135), (70.655,21.555,73.505,21.975), (98.055,21.555,100.905,21.975), (70.655,21.975,71.075,24.215), (73.085,21.975,73.505,24.215), (98.055,21.975,98.475,24.215), (100.485,21.975,100.905,24.215), (70.655,24.215,73.505,24.635), (98.055,24.215,100.905,24.635)])
R(buffer, psdm, [(78.905,7.325,80.345,8.02), (78.81,8.02,80.345,8.275), (78.81,8.275,79.19,8.455), (79.655,8.275,80.345,8.455), (71.855,8.455,74.955,8.875), (79.095,8.455,79.19,8.71), (107.015,8.455,110.105,8.875), (71.855,8.875,72.275,11.025), (74.285,8.875,74.955,11.025), (107.015,8.875,107.675,11.025), (109.685,8.875,110.105,11.025), (71.855,11.025,74.955,11.445), (107.015,11.025,110.105,11.445), (76.555,12.855,79.655,13.275), (107.015,12.855,110.105,13.275), (76.555,13.275,76.975,15.425), (78.985,13.275,79.655,15.425), (107.015,13.275,107.675,15.425), (109.685,13.275,110.105,15.425), (76.555,15.425,79.655,15.845), (107.015,15.425,110.105,15.845), (71.165,17.97,72.995,19.22), (98.565,17.97,100.395,19.22), (71.165,22.47,72.995,23.72), (98.565,22.47,100.395,23.72)])
R(buffer, npc, [(72.925,8.99,73.635,9.36), (108.325,8.99,109.035,9.36), (72.925,10.54,73.635,10.91), (108.325,10.54,109.035,10.91), (77.625,13.39,78.335,13.76), (108.325,13.39,109.035,13.76), (77.625,14.94,78.335,15.31), (108.325,14.94,109.035,15.31), (71.725,17.59,72.435,17.96), (99.125,17.59,99.835,17.96), (71.725,19.23,72.435,19.6), (99.125,19.23,99.835,19.6), (71.725,22.09,72.435,22.46), (99.125,22.09,99.835,22.46), (71.725,23.73,72.435,24.1), (99.125,23.73,99.835,24.1)])
buffer.add(gdstk.Reference(sky130_fd_pr__pfet_01v8_, (85.78,23.095)))
buffer.add(gdstk.Reference(sky130_fd_pr__pfet_01v8_, (85.78,18.595)))
buffer.add(gdstk.Reference(c_sky130_fd_pr__pfet_01v8_, (92.66,18.595), rotation=pi, x_reflection=True))
buffer.add(gdstk.Reference(c_sky130_fd_pr__pfet_01v8_, (92.66,23.095), rotation=pi, x_reflection=True))
buffer.add(gdstk.Reference(c_sky130_fd_pr__pfet_01v8__, (78.96,23.095)))
buffer.add(gdstk.Reference(c_sky130_fd_pr__pfet_01v8___, (78.96,18.595)))
buffer.add(gdstk.Reference(sky130_fd_pr__nfet_01v8_, (77.025,9.95)))
buffer.add(gdstk.Reference(c_sky130_fd_pr__nfet_01v8_, (93.335,9.95)))
buffer.add(gdstk.Reference(c_sky130_fd_pr__nfet_01v8_, (93.335,14.35)))
buffer.add(gdstk.Label('net1', (98.65,8.275), layer=68, texttype=5))
buffer.add(gdstk.Label('net2', (86.6,20.35), layer=69, texttype=5))
buffer.add(gdstk.Label('net4', (78.375,12), layer=68, texttype=5))
buffer.add(gdstk.Label('net3', (88.05,16.85), layer=68, texttype=5))
buffer.add(gdstk.Label('vd', (69.675,20.875), layer=68, texttype=5))
buffer.add(gdstk.Label('ib', (69.675,11.625), layer=68, texttype=5))
buffer.add(gdstk.Label('out', (110.325,11.425), layer=68, texttype=5))
buffer.add(gdstk.Label('in', (69.675,16.075), layer=68, texttype=5))
buffer.add(gdstk.Label('gnd', (78.825,7.725), layer=68, texttype=5))

lib.write_gds('buffer.gds')
